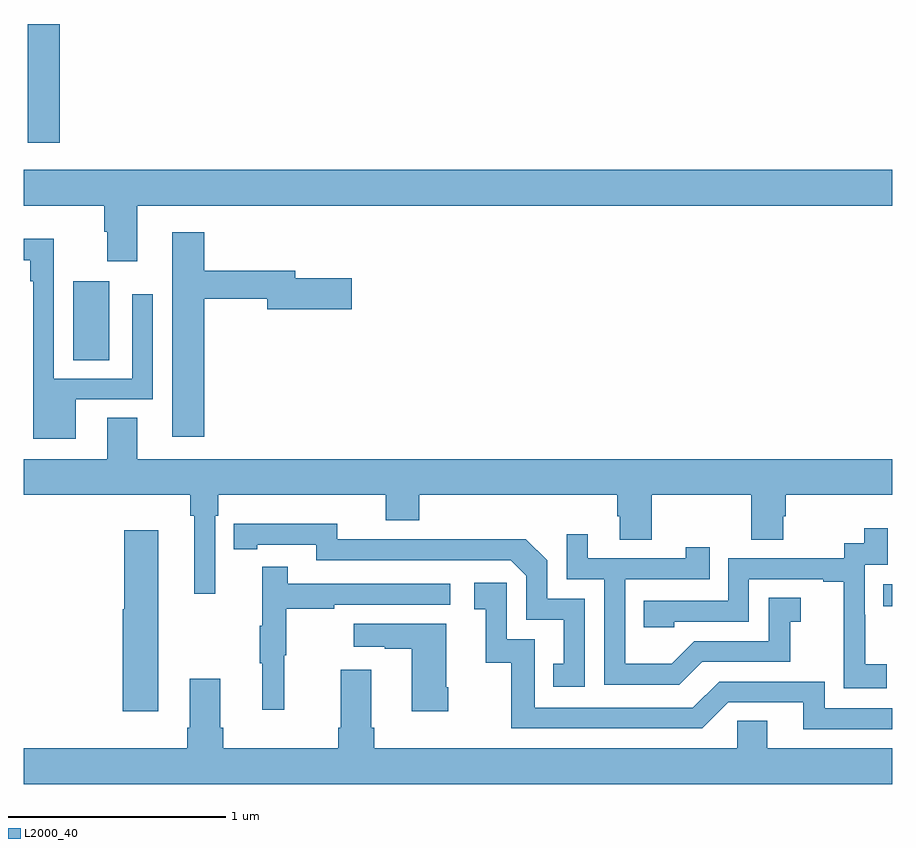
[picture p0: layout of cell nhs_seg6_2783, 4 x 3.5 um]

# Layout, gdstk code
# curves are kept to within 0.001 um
import gdstk
lib = gdstk.Library(unit=1e-6, precision=1e-09)
def R(c, l, rs):  # rectangles x0, y0, x1, y1
    for r in rs: c.add(gdstk.rectangle(r[:2], r[2:], *l))
def P(c, l, *ps):  # polygons
    for p in ps: c.add(gdstk.Polygon(p, *l))
L2000_40 = (2000, 40)

nhs_seg6_2783 = lib.new_cell('nhs_seg6_2783')
R(nhs_seg6_2783, L2000_40, [(278.959,950.818,279,950.919), (275.228,951.952,275.395,952.315), (275.018,952.953,275.165,953.5)])
P(nhs_seg6_2783, L2000_40, [(275.524,952.664),(279,952.664),(279,952.828),(275,952.828),(275,952.664),(275.372,952.664),(275.372,952.544),(275.384,952.544),(275.384,952.407),(275.524,952.407)],
  [(275.831,952.234),(276.122,952.234),(276.122,952.187),(276.511,952.187),(276.511,952.329),(276.25,952.329),(276.25,952.363),(275.831,952.363),(275.831,952.54),(275.684,952.54),(275.684,951.6),(275.831,951.6)],
  [(275.239,951.771),(275.595,951.771),(275.595,952.255),(275.499,952.255),(275.499,951.867),(275.139,951.867),(275.139,952.51),(275,952.51),(275,952.412),(275.031,952.412),(275.031,952.316),(275.043,952.316),(275.043,951.59),(275.239,951.59)],
  [(275.883,951.236),(275.897,951.236),(275.897,951.332),(276.668,951.332),(276.668,951.215),(276.821,951.215),(276.821,951.332),(277.733,951.332),(277.733,951.234),(277.745,951.234),(277.745,951.124),(277.893,951.124),(277.893,951.332),(278.35,951.332),(278.35,951.124),(278.497,951.124),(278.497,951.234),(278.51,951.234),(278.51,951.332),(279,951.332),(279,951.496),(275.524,951.496),(275.524,951.686),(275.384,951.686),(275.384,951.496),(275,951.496),(275,951.332),(275.767,951.332),(275.767,951.236),(275.786,951.236),(275.786,950.877),(275.883,950.877)],
  [(277.584,950.853),(277.41,950.853),(277.41,951.03),(277.312,951.128),(276.904,951.128),(276.904,951.126),(276.444,951.126),(276.444,951.199),(275.968,951.198),(275.968,951.082),(276.076,951.082),(276.076,951.102),(276.348,951.102),(276.348,951.03),(277.242,951.03),(277.314,950.958),(277.314,950.757),(277.487,950.757),(277.487,950.553),(277.438,950.553),(277.438,950.448),(277.584,950.448)],
  [(278.974,950.551),(278.876,950.551),(278.876,950.78),(278.874,950.78),(278.874,951.009),(278.979,951.009),(278.979,951.178),(278.871,951.178),(278.871,951.108),(278.778,951.108),(278.778,951.039),(278.244,951.039),(278.244,950.844),(277.855,950.844),(277.855,950.721),(277.995,950.721),(277.995,950.748),(278.34,950.748),(278.34,950.943),(278.681,950.943),(278.681,950.931),(278.777,950.931),(278.777,950.647),(278.776,950.647),(278.776,950.441),(278.974,950.441)],
  [(275.62,951.169),(275.462,951.169),(275.462,950.805),(275.456,950.805),(275.456,950.334),(275.62,950.334)],
  [(278.125,950.562),(278.529,950.562),(278.529,950.747),(278.578,950.747),(278.578,950.857),(278.43,950.857),(278.43,950.658),(278.088,950.658),(277.984,950.554),(277.77,950.554),(277.77,950.943),(278.159,950.943),(278.159,951.091),(278.048,951.091),(278.048,951.039),(277.597,951.039),(277.597,951.151),(277.5,951.151),(277.5,950.943),(277.674,950.943),(277.674,950.457),(278.02,950.457)],
  [(276.2,950.592),(276.208,950.592),(276.208,950.806),(276.431,950.806),(276.431,950.826),(276.964,950.826),(276.964,950.922),(276.215,950.922),(276.215,951.001),(276.098,951.001),(276.098,950.729),(276.087,950.729),(276.087,950.555),(276.098,950.555),(276.098,950.343),(276.2,950.343)],
  [(279,950.349),(278.688,950.349),(278.688,950.472),(278.202,950.472),(278.082,950.352),(277.353,950.352),(277.353,950.667),(277.224,950.667),(277.224,950.926),(277.074,950.926),(277.074,950.805),(277.127,950.805),(277.127,950.559),(277.245,950.559),(277.245,950.256),(278.124,950.256),(278.244,950.376),(278.591,950.376),(278.591,950.253),(279,950.253)],
  [(276.954,950.446),(276.946,950.446),(276.946,950.737),(276.519,950.737),(276.519,950.633),(276.662,950.633),(276.662,950.623),(276.788,950.623),(276.788,950.334),(276.954,950.334)],
  [(279,950.164),(278.425,950.164),(278.425,950.291),(278.286,950.291),(278.286,950.164),(276.614,950.164),(276.614,950.26),(276.601,950.26),(276.601,950.527),(276.461,950.527),(276.461,950.26),(276.449,950.26),(276.449,950.164),(275.918,950.164),(275.918,950.26),(275.905,950.26),(275.905,950.485),(275.765,950.485),(275.765,950.26),(275.753,950.26),(275.753,950.164),(275,950.164),(275,950),(279,950)])

lib.write_gds('nhs_seg6_2783.gds')
